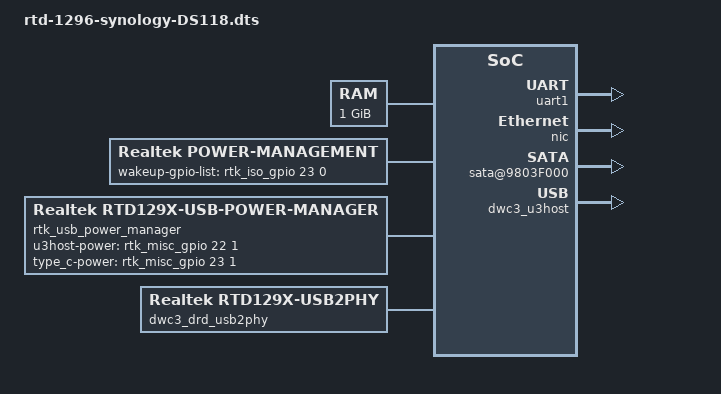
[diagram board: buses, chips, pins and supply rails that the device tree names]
/dts-v1/;

#include "../../../../../include/soc/realtek/memory.h"
/memreserve/ ION_MEDIA_HEAP_PHYS1       ION_MEDIA_HEAP_SIZE1        ; /* 0x02900000 ~ 0x08cfffff */
/memreserve/ ION_AUDIO_HEAP_PHYS        ION_AUDIO_HEAP_SIZE         ; /* 0x02600000 ~ 0x028fffff */
/memreserve/ ION_MEDIA_HEAP_PHYS2       ION_MEDIA_HEAP_SIZE2        ; /* 0x10100000 ~ 0x132fffff */
/memreserve/ ROOTFS_NORMAL_START        ROOTFS_NORMAL_SIZE          ; /* RootFS */

#include "rtd-1296.dtsi"

/ {

	chosen {
		bootargs = "earlycon=uart8250,mmio32,0x98007800 console=ttyS0,115200 androidboot.hardware=kylin loglevel=8";
		linux,initrd-start = <ROOTFS_NORMAL_START>;
		linux,initrd-end = <ROOTFS_NORMAL_END>;
		syno_version = "SYNO-DTB-DSM6-1-15103";
	};

	memory {
		device_type = "memory";
		reg = <0 0x40000000>;	/* 1024 MB */
	};

	mem_remap {
		compatible = "Realtek,rtk1295-mem_remap";
		reg = <RBUS_BASE_PHYS RBUS_BASE_SIZE>,
		      <RPC_COMM_PHYS RPC_COMM_SIZE>,
		      <ACPU_FIREWARE_PHYS ACPU_FIREWARE_SIZE>,
		      <ION_AUDIO_HEAP_PHYS ION_AUDIO_HEAP_SIZE>,
		      <RPC_RINGBUF_PHYS RPC_RINGBUF_SIZE>,
		      <ACPU_IDMEM_PHYS ACPU_IDMEM_SIZE>,
		      <ION_MEDIA_HEAP_PHYS1 ION_MEDIA_HEAP_SIZE1>,
		      <ION_MEDIA_HEAP_PHYS2 ION_MEDIA_HEAP_SIZE2>;
	};

	power-management{
		compatible = "Realtek,power-management";

		/* GPIO Wakeup */
		wakeup-gpio-enable = /* (0) disable (1) enable */
			<1>; /* Wakeup from BT : disable */
		wakeup-gpio-list = /* <&rtk_iso_gpio {num} {force input (0) } {default N/A (0)] }> */
			<&rtk_iso_gpio 23 0 0>; /* BT wakeup host pin */
		wakeup-gpio-activity = /* (0) active low (1) active high*/
			<0>; /* BT : high activity */
	};

	uart1: serial1@9801B200 {
		compatible = "snps,dw-apb-uart";
		status = "okay";
	};

        i2c_1: i2c@0x98007C00 {
                compatible = "Realtek,rtk-i2c";
                status = "okay";
        };

        i2c_2: i2c@0x9801B700 {
                compatible = "Realtek,rtk-i2c";
                status = "okay";
        };

	nic: gmac@98016000 {
		compatible = "Realtek,r8168";
		led-cfg = <0x1000>;
	};

	pcie@9804E000 {
		compatible = "Realtek,rtd1295-pcie-slot1";
		iso-gpios = <&rtk_iso_gpio 34 1 0>;
		status = "disabled";
	};

	sata@9803F000 {
		compatible = "Realtek,ahci-sata";
		tx-driving = <10>;
		blink-gpios = <&rtk_misc_gpio 18 1 0>;
	};

	rtk_usb_power_manager {
		compatible = "Realtek,rtd129x-usb-power-manager";
		realtek,u3host-power-gpio = <&rtk_misc_gpio 22 1 0>; /*1296 u3host power, output, default low */
		realtek,type_c-power-gpio = <&rtk_misc_gpio 23 1 0>; /*TypeC power, output, default low */
	};

	dwc3_u2host: rtk_dwc3_u2host@98013E00 {
		compatible = "Realtek,rtd129x-dwc3-u2h";
		status = "disabled";
	};

	dwc3_drd_usb3phy: dwc3_drd_usb3phy {
		phy_data_revA = /bits/ 16
			<0x4008 0xE04A 0x6046 0x27F1 0x52F5 0x2AD3 0x000E 0x2E00 0x3591 0x521C 0xA600 0xA905 0xC000 0xEF1C 0x2000 0x0000
			 0x000C 0x4C00 0xFC00 0x0C81 0xDE01 0x0000 0x0000 0x0000 0x0000 0x4004 0x1260 0xFF00 0xCB00 0xA03F 0xC2E0 0x2807
			 0x947A 0x88AA 0x0057 0xAB66 0x0800 0x0000 0x040A 0x01D6 0xF842 0x3080 0x3082 0x2078 0xFFFF 0xFFFF 0x0000 0x0040
			 0x521C 0x501C 0x521C>;
    };

	dwc3_u3host_usb3phy: dwc3_u3host_usb3phy {
		phy_data_revA = /bits/ 16
			<0x4008 0xE04A 0x6046 0x27F1 0x52F5 0x2AD3 0x000E 0x2E00 0x3591 0x521C 0xA600 0xA905 0xC000 0xEF1C 0x2000 0x0000
			 0x000C 0x4C00 0xFC00 0x0C81 0xDE01 0x0000 0x0000 0x0000 0x0000 0x4004 0x1260 0xFF00 0xCB00 0xA03F 0xC2E0 0x2807
			 0x9434 0x284A 0x0057 0xAB66 0x0800 0x0000 0x040A 0x01D6 0xF802 0x3080 0x3082 0x2078 0xFFFF 0xFFFF 0x0000 0x0040
			 0x521C 0x501C 0x521C>;
	};

	rtk,ion {
		compatible = "Realtek,rtk-ion";
		#address-cells = <1>;
		#size-cells = <0>;
		rtk,ion-heap@0 {    /* SYSTEM_HEAP */
		    compatible = "Realtek,rtk-ion-reserve";
		    reg = <0>;
		    rtk,memory-reservation-size = <0x0>;
		};
		rtk,ion-heap@1 {    /* System contig */
		    compatible = "Realtek,rtk-ion-reserve";
		    reg = <1>;
		    rtk,memory-reservation-size = <0x0>;
		};
		rtk,ion-heap@4 {    /* DMA_HEAP */
		    compatible = "Realtek,rtk-ion-reserve";
		    reg = <4>;
		    rtk,memory-reservation-size = <0x0>;
		};
		rtk,ion-heap@8 {    /* Audio */
                    compatible = "Realtek,rtk-ion-reserve";
                    reg = <8>;
                    rtk,memory-reserve = <
                    ION_AUDIO_HEAP_PHYS ION_AUDIO_HEAP_SIZE ION_AUDIO_HEAP_FLAG
                    >;
                };
		rtk,ion-heap@7 {    /* TYPE_MEDIA */
                    compatible = "Realtek,rtk-ion-reserve";
                    reg = <7>;
                    rtk,memory-reserve = <
                    ION_MEDIA_HEAP_PHYS1 ION_MEDIA_HEAP_SIZE1 ION_MEDIA_HEAP_FLAG1
                    ION_MEDIA_HEAP_PHYS2 ION_MEDIA_HEAP_SIZE2 ION_MEDIA_HEAP_FLAG2
                    >;
		};
	};

	jpeg@9803e000 {
		compatible = "Realtek,rtk1295-jpeg";
		reg = <0x9803e000 0x1000>, <0x98000000 0x200>;
		interrupts = <0 52 4>;
	};

	ve1@98040000 {
		compatible = "Realtek,rtk1295-ve1";
		reg = <0x98040000 0x8000>, <0x98000000 0x200>;
		interrupts = <0 53 4>, <0 54 4>;
	};

	ve3@98048000 {
		compatible = "Realtek,rtk1295-ve3";
		reg = <0x98048000 0x4000>, <0x98000000 0x200>;
		interrupts = <0 55 4>;
	};

	md@9800b000 {
		compatible = "Realtek,rtk1295-md";
		reg = <0x9800b000 0x1000>;
		interrupts = <0 38 4>;  /* 70 - 32 = 38 */
	};

	se@9800c000 {
		compatible = "Realtek,rtk1295-se";
		reg = <0x9800c000 0x1000>;
		interrupts = <0 20 4>;  /* 52 - 32 = 20 */
	};

        dwc3_drd_usb2phy: dwc3_drd_usb2phy {
                compatible = "Realtek,rtd129x-usb2phy";
                phy_data_page0_size = <9>;
                phy_data_page0_addr = /bits/ 8 <0xE0 0xE1 0xE2 0xE3 0xE4 0xE5 0xE6 0xE7 0xF5>;
                phy_data_page0_data = /bits/ 8 <0xE0 0x30 0x3A 0x8D 0x68 0x65 0x91 0x81 0x81>;
                phy_data_page1_size = <8>;
                phy_data_page1_addr = /bits/ 8 <0xE0 0xE1 0xE2 0xE3 0xE4 0xE5 0xE6 0xE7>;
                phy_data_page1_data = /bits/ 8 <0x25 0x0F 0x60 0x00 0x00 0x0F 0x18 0xE3>;
        };

        dwc3_u3host_usb2phy: dwc3_u3host_usb2phy {
                phy_data_page0_size = <9>;
                phy_data_page0_addr = /bits/ 8 <0xE0 0xE1 0xE2 0xE3 0xE4 0xE5 0xE6 0xE7 0xF5>;
                phy_data_page0_data = /bits/ 8 <0xE0 0x30 0x3A 0x8D 0x66 0x65 0x91 0x81 0x81>;
                phy_data_page1_size = <8>;
                phy_data_page1_addr = /bits/ 8 <0xE0 0xE1 0xE2 0xE3 0xE4 0xE5 0xE6 0xE7>;
                phy_data_page1_data = /bits/ 8 <0x25 0x0F 0x60 0x00 0x00 0x0F 0x18 0xE3>;

                status = "okay";
        };

        dwc3_u3host: rtk_dwc3_u3host@98013E00 {
                status = "okay";
                dwc3_u3host@981F0000 {
                        compatible = "synopsys,dwc3";
                };
        };

};
